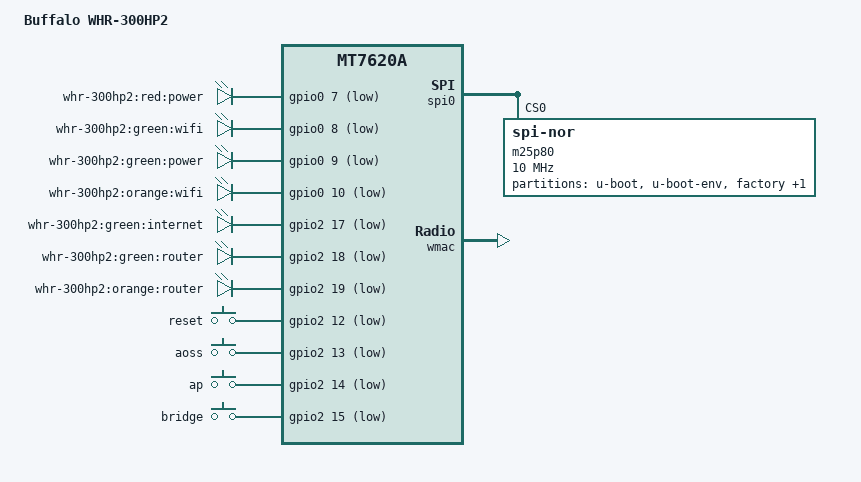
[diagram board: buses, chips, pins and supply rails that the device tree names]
/dts-v1/;

#include "mt7620a.dtsi"

/ {
	compatible = "ralink,mt7620a-soc";
	model = "Buffalo WHR-300HP2";

	gpio-leds {
		compatible = "gpio-leds";

		power {
			label = "whr-300hp2:red:power";
			gpios = <&gpio0 7 1>;
		};

		wifi {
			label = "whr-300hp2:green:wifi";
			gpios = <&gpio0 8 1>;
		};

		power2 {
			label = "whr-300hp2:green:power";
			gpios = <&gpio0 9 1>;
		};

		wifi2 {
			label = "whr-300hp2:orange:wifi";
			gpios = <&gpio0 10 1>;
		};

		internet {
			label = "whr-300hp2:green:internet";
			gpios = <&gpio2 17 1>;
		};

		router {
			label = "whr-300hp2:green:router";
			gpios = <&gpio2 18 1>;
		};

		router2 {
			label = "whr-300hp2:orange:router";
			gpios = <&gpio2 19 1>;
		};
	};

	gpio-keys-polled {
		compatible = "gpio-keys-polled";
		#address-cells = <1>;
		#size-cells = <0>;
		poll-interval = <20>;

		reset {
			label = "reset";
			gpios = <&gpio2 12 1>;
			linux,code = <0x198>;
		};

		aoss {
			label = "aoss";
			gpios = <&gpio2 13 1>;
			linux,code = <0x211>;
		};

		ap {
			label = "ap";
			gpios = <&gpio2 14 1>;
			linux,code = <0x100>;
			linux,input-type = <5>; /* EV_SW */
		};

		bridge {
			label = "bridge";
			gpios = <&gpio2 15 1>;
			linux,code = <0x100>;
			linux,input-type = <5>; /* EV_SW */
		};
	};
};

&gpio2 {
	status = "okay";
};

&spi0 {
	status = "okay";

	m25p80@0 {
		#address-cells = <1>;
		#size-cells = <1>;
		compatible = "jedec,spi-nor";
		reg = <0>;
		linux,modalias = "m25p80", "s25fl064k";
		spi-max-frequency = <10000000>;

		partition@0 {
			label = "u-boot";
			reg = <0x0 0x30000>;
			read-only;
		};

		partition@30000 {
			label = "u-boot-env";
			reg = <0x30000 0x10000>;
			read-only;
		};

		factory: partition@40000 {
			label = "factory";
			reg = <0x40000 0x10000>;
			read-only;
		};

		partition@50000 {
			label = "firmware";
			reg = <0x50000 0x7b0000>;
		};
	};
};

&pinctrl {
	state_default: pinctrl0 {
		gpio {
			ralink,group = "i2c", "uartf", "rgmii1", "rgmii2", "wled", "nd_sd";
			ralink,function = "gpio";
		};

		pa {
			ralink,group = "pa";
			ralink,function = "pa";
		};
	};
};

&ethernet {
	pinctrl-names = "default";
	pinctrl-0 = <&ephy_pins>;
	mediatek,portmap = "llllw";
};

&gsw {
	mediatek,port4 = "ephy";
};

&wmac {
	ralink,mtd-eeprom = <&factory 0>;
};
